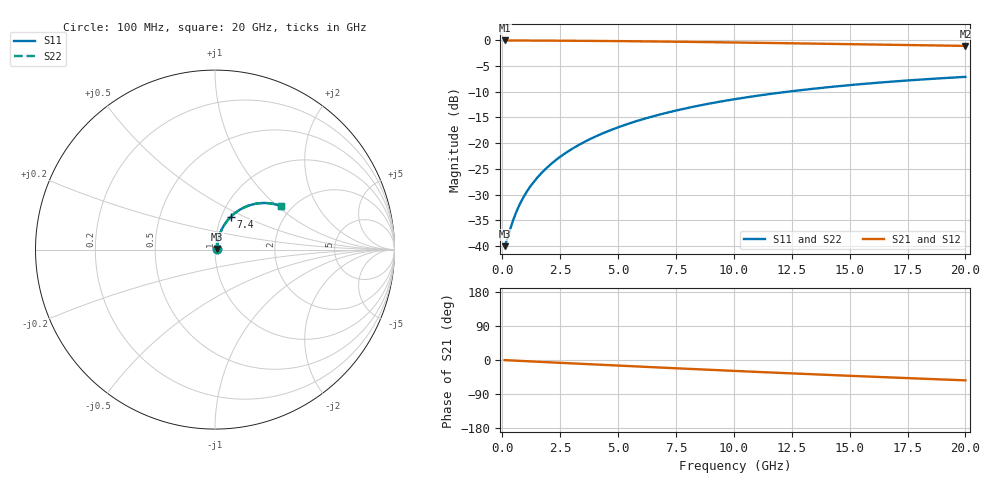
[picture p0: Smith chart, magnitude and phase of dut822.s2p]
! Touchstone file exported from HFSS 2026.1.0
!  File:  C:/ffzhzh/LocalFiles/Ansys_Project_Files/temp_train_BSMRDL_822_1783170073_22436.aedt
!  Generated:  09:02:24 PM Jul  4, 2026
!  Design:  BSMRDL
!  Project:  temp_train_BSMRDL_822_1783170073_22436
! Variables:
!  h_bsmrdl = 2.69um
!  h_ox = 20um
!  h_rdl = 5um
!  h_sub = 80um
!  h_tmrdl = 5um
!  h_tsv = 80um
!  h_via = 3um
!  l_bsmrdl = 861.23um
!  l_sub = 1261.23um
!  l_tmrdl = 200um
!  m_sub = 200um
!  pitch = 26.55um
!  r_tsv = 6um
!  s_tmrdl = 10um
!  w_bsmrdl = 11.92um
!  w_sub = 500um
!  w_tmrdl = 12um
!  x_tsv_center1 = 206um
!  x_tsv_center2 = 1079.15um
!  x_tsv_center3 = 1291.15um
!  x_tsv_center4 = 2164.3um
!  x_tsv_center5 = 2376.3um
!  x_tsv_center6 = 3249.45um
# GHz S MA R 50.000000
! Terminal data exported
! Port[1] = BSM_RDL1_1_T1
! Port[2] = BSM_RDL1_1_T2
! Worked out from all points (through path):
!   200 points, 100 MHz to 20 GHz, reference 50 ohm
!   highest |S21| = -0.08 dB at 100 MHz (marker M1); lowest = -1.1 dB at 20 GHz (marker M2)
!   group delay of S21, straight-line fit = 7.47 ps
!   lowest |S11| = -40.0 dB at 100 MHz (marker M3), VSWR 1.02, Z = 51 + j0.322 ohm
!   |S11| at or under -10 dB: start of sweep to 12.38 GHz
!   |S22| runs from -40.0 to -7.1 dB; largest |S21 - S12| = 3.1e-15
!   S11 on the Smith chart (normalised r, x): 100 MHz: 1.02, +0.01; 7.4 GHz: 1.11, +0.43; 20 GHz: 1.75, +1.05
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0.1  0.009972 18.5  0.9906 -0.3  0.9906 -0.3  0.009972 18.5
! Gamma 0 0 0 0
! Port Impedance 50 0 50 0
0.2  0.0115 33.2  0.9904 -0.6  0.9904 -0.6  0.0115 33.2
0.4  0.01605 50.6  0.99 -1.3  0.99 -1.3  0.01605 50.6
0.5  0.01864 55.5  0.9897 -1.6  0.9897 -1.6  0.01864 55.5
0.7  0.02397 61.7  0.9892 -2.2  0.9892 -2.2  0.02397 61.7
1  0.03211 66.8  0.9885 -3.0  0.9885 -3.0  0.03211 66.8
1.3  0.04031 69.7  0.9879 -3.9  0.9879 -3.9  0.04031 69.7
1.7  0.05133 71.7  0.987 -5.1  0.987 -5.1  0.05133 71.7
2.2  0.0652 72.8  0.9859 -6.6  0.9859 -6.6  0.0652 72.8
2.8  0.08187 73.0  0.9844 -8.3  0.9844 -8.3  0.08188 73.0
3.5  0.1013 72.4  0.9823 -10.4  0.9823 -10.4  0.1013 72.4
4.2  0.1205 71.3  0.9797 -12.4  0.9797 -12.4  0.1205 71.3
5  0.1421 69.8  0.9764 -14.8  0.9764 -14.8  0.1421 69.8
5.9  0.1659 67.8  0.9721 -17.3  0.9721 -17.3  0.1659 67.8
6.8  0.1891 65.7  0.9673 -19.9  0.9673 -19.9  0.1891 65.7
7.4  0.2042 64.2  0.9639 -21.6  0.9639 -21.6  0.2042 64.2
8.7  0.2358 60.9  0.9559 -25.2  0.9559 -25.2  0.2358 60.9
10.1  0.268 57.4  0.9465 -29.0  0.9465 -29.0  0.268 57.4
11.7  0.3023 53.4  0.9353 -33.3  0.9353 -33.3  0.3024 53.3
13.4  0.336 49.1  0.923 -37.7  0.923 -37.7  0.336 49.1
16.7  0.3928 41.2  0.8992 -45.9  0.8992 -45.9  0.3929 41.2
20  0.439 33.7  0.8772 -53.7  0.8772 -53.7  0.4391 33.6
